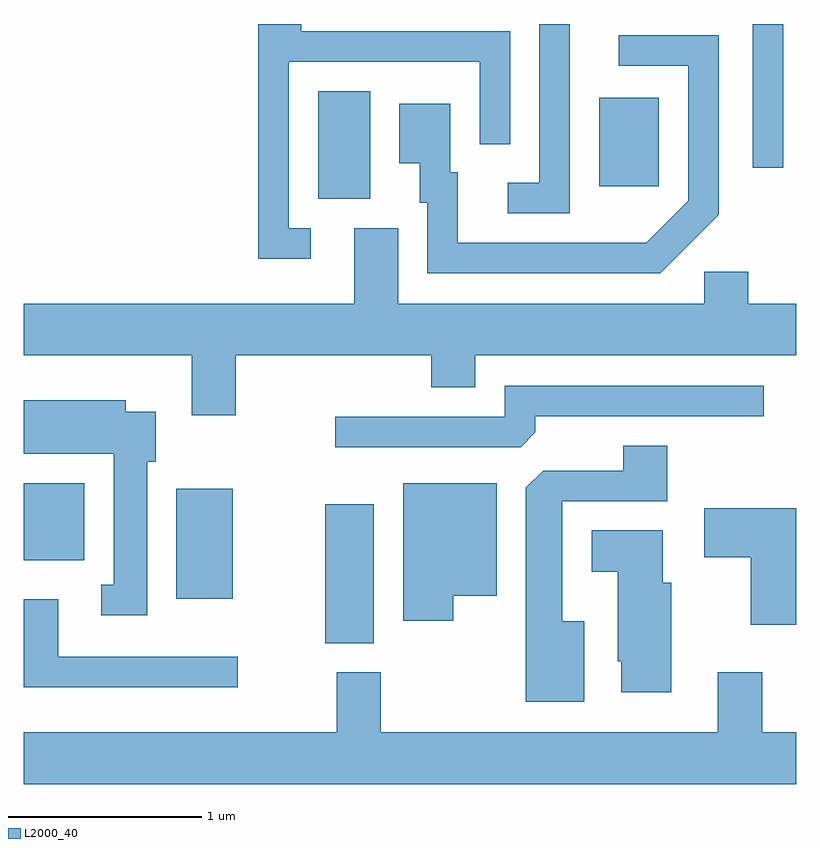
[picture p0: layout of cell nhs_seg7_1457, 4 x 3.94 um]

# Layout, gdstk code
import gdstk
lib = gdstk.Library(unit=1e-6, precision=1e-09)
def R(c, l, rs):  # rectangles x0, y0, x1, y1
    for r in rs: c.add(gdstk.rectangle(r[:2], r[2:], *l))
def P(c, l, *ps):  # polygons
    for p in ps: c.add(gdstk.Polygon(p, *l))
L2000_40 = (2000, 40)

nhs_seg7_1457 = lib.new_cell('nhs_seg7_1457')
R(nhs_seg7_1457, L2000_40, [(231.171,1715.046,231.424,1715.764), (230.401,1715.276,230.694,1715.844), (229.611,1715.476,229.924,1715.874), (231.136,1717.346,231.404,1717.904), (232.591,1717.411,232.899,1717.869)])
P(nhs_seg7_1457, L2000_40, [(231.098,1717.194),(230.984,1717.194),(230.984,1718.056),(231.971,1718.056),(231.971,1717.628),(232.129,1717.628),(232.129,1718.214),(231.049,1718.214),(231.049,1718.252),(230.826,1718.252),(230.826,1717.036),(231.098,1717.036)],
  [(232.439,1718.252),(232.281,1718.252),(232.281,1717.429),(232.118,1717.429),(232.118,1717.271),(232.439,1717.271)],
  [(233.544,1718.252),(233.383,1718.252),(233.386,1718.249),(233.386,1717.508),(233.544,1717.508)],
  [(233.209,1717.264),(233.209,1718.194),(232.693,1718.194),(232.693,1718.036),(233.051,1718.036),(233.051,1717.337),(232.834,1717.119),(231.859,1717.119),(231.859,1717.484),(231.819,1717.484),(231.819,1717.839),(231.556,1717.839),(231.556,1717.531),(231.661,1717.531),(231.661,1717.326),(231.701,1717.326),(231.701,1716.961),(232.907,1716.961)],
  [(230.709,1716.536),(231.721,1716.536),(231.721,1716.371),(231.949,1716.371),(231.949,1716.536),(233.611,1716.536),(233.611,1716.804),(233.364,1716.804),(233.364,1716.969),(233.136,1716.969),(233.136,1716.804),(231.549,1716.804),(231.549,1717.194),(231.321,1717.194),(231.321,1716.804),(229.611,1716.804),(229.611,1716.536),(230.481,1716.536),(230.481,1716.226),(230.709,1716.226)],
  [(232.259,1716.137),(232.259,1716.221),(233.443,1716.221),(233.443,1716.379),(232.101,1716.379),(232.101,1716.219),(231.223,1716.219),(231.223,1716.061),(232.184,1716.061)],
  [(230.249,1715.986),(230.294,1715.986),(230.294,1716.244),(230.139,1716.244),(230.139,1716.304),(229.611,1716.304),(229.611,1716.026),(230.076,1716.026),(230.076,1715.349),(230.013,1715.349),(230.013,1715.191),(230.249,1715.191)],
  [(232.514,1715.159),(232.399,1715.159),(232.399,1715.781),(232.944,1715.781),(232.944,1716.069),(232.716,1716.069),(232.716,1715.939),(232.302,1715.939),(232.211,1715.849),(232.211,1714.741),(232.514,1714.741)],
  [(231.834,1715.291),(232.059,1715.291),(232.059,1715.874),(231.576,1715.874),(231.576,1715.161),(231.834,1715.161)],
  [(233.611,1715.744),(233.136,1715.744),(233.136,1715.491),(233.376,1715.491),(233.376,1715.141),(233.611,1715.141)],
  [(232.964,1715.359),(232.919,1715.359),(232.919,1715.629),(232.551,1715.629),(232.551,1715.416),(232.686,1715.416),(232.686,1714.951),(232.706,1714.951),(232.706,1714.791),(232.964,1714.791)],
  [(230.718,1714.974),(229.789,1714.974),(229.789,1715.274),(229.611,1715.274),(229.611,1714.816),(230.718,1714.816)],
  [(233.611,1714.584),(233.434,1714.584),(233.434,1714.894),(233.206,1714.894),(233.206,1714.584),(231.459,1714.584),(231.459,1714.894),(231.231,1714.894),(231.231,1714.584),(229.611,1714.584),(229.611,1714.316),(233.611,1714.316)])

lib.write_gds('nhs_seg7_1457.gds')
